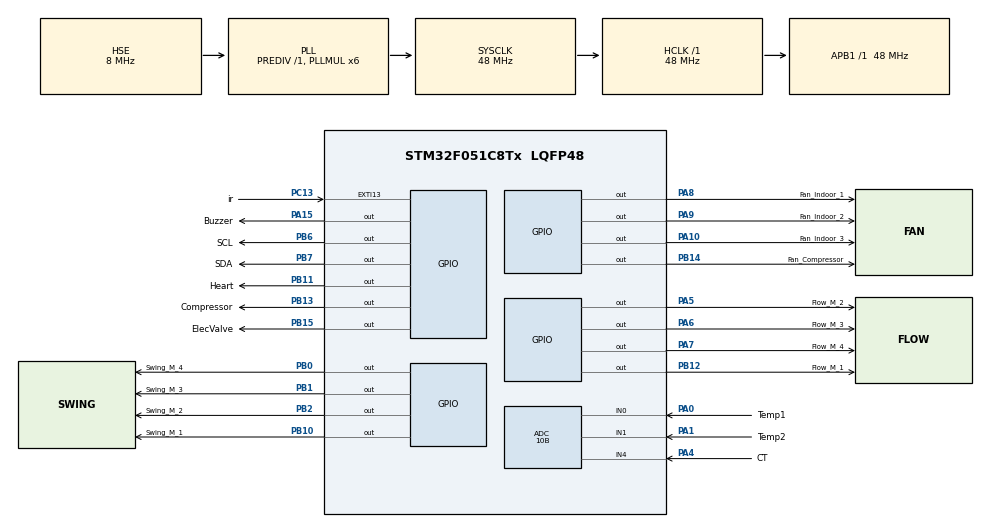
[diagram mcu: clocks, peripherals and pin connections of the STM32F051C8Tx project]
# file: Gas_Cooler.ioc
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ADC.ContinuousConvMode=ENABLE
ADC.DMAContinuousRequests=ENABLE
ADC.Resolution=ADC_RESOLUTION_10B
ADC.SamplingTime=ADC_SAMPLETIME_71CYCLES_5
Dma.ADC.0.Direction=DMA_PERIPH_TO_MEMORY
Dma.ADC.0.Instance=DMA1_Channel1
Dma.ADC.0.MemDataAlignment=DMA_MDATAALIGN_HALFWORD
Dma.ADC.0.MemInc=DMA_MINC_ENABLE
Dma.ADC.0.Mode=DMA_CIRCULAR
Dma.ADC.0.PeriphDataAlignment=DMA_PDATAALIGN_HALFWORD
Dma.ADC.0.PeriphInc=DMA_PINC_DISABLE
Dma.ADC.0.Priority=DMA_PRIORITY_LOW
Dma.Request0=ADC
Mcu.Family=STM32F0
Mcu.Name=STM32F051C8Tx
Mcu.Package=LQFP48
NVIC.DMA1_Channel1_IRQn=true\:0\:0\:false\:false\:true\:false\:true
NVIC.EXTI4_15_IRQn=true\:0\:0\:false\:false\:true\:true\:true
NVIC.TIM14_IRQn=true\:0\:0\:false\:false\:true\:true\:true
NVIC.TIM3_IRQn=true\:0\:0\:false\:false\:true\:true\:true
NVIC.TIM6_DAC_IRQn=true\:0\:0\:false\:false\:true\:true\:true
PA0.GPIO_Label=Temp1
PA0.Mode=IN0
PA0.Signal=ADC_IN0
PA1.GPIO_Label=Temp2
PA1.Mode=IN1
PA1.Signal=ADC_IN1
PA10.GPIO_Label=Fan_Indoor_3
PA10.Signal=GPIO_Output
PA13.Mode=Serial_Wire
PA13.Signal=SYS_SWDIO
PA14.Mode=Serial_Wire
PA14.Signal=SYS_SWCLK
PA15.GPIO_Label=Buzzer
PA15.Signal=GPIO_Output
PA4.GPIO_Label=CT
PA4.Mode=IN4
PA4.Signal=ADC_IN4
PA5.GPIO_Label=Flow_M_2
PA5.Signal=GPIO_Output
PA6.GPIO_Label=Flow_M_3
PA6.Signal=GPIO_Output
PA7.GPIO_Label=Flow_M_4
PA7.Signal=GPIO_Output
PA8.GPIO_Label=Fan_Indoor_1
PA8.Signal=GPIO_Output
PA9.GPIO_Label=Fan_Indoor_2
PA9.Signal=GPIO_Output
PB0.GPIO_Label=Swing_M_4
PB0.Signal=GPIO_Output
PB1.GPIO_Label=Swing_M_3
PB1.Signal=GPIO_Output
PB10.GPIO_Label=Swing_M_1
PB10.Signal=GPIO_Output
PB11.GPIO_Label=Heart
PB11.Signal=GPIO_Output
PB12.GPIO_Label=Flow_M_1
PB12.Signal=GPIO_Output
PB13.GPIO_Label=Compressor
PB13.Signal=GPIO_Output
PB14.GPIO_Label=Fan_Compressor
PB14.Signal=GPIO_Output
PB15.GPIO_Label=ElecValve
PB15.Signal=GPIO_Output
PB2.GPIO_Label=Swing_M_2
PB2.Signal=GPIO_Output
PB6.GPIO_Label=SCL
PB6.Signal=GPIO_Output
PB7.GPIO_Label=SDA
PB7.Signal=GPIO_Output
PC13.GPIO_Label=ir
PC13.GPIO_ModeDefaultEXTI=GPIO_MODE_IT_FALLING
PC13.GPIO_PuPd=GPIO_PULLUP
PC13.Signal=GPXTI13
PF0-OSC_IN.Mode=HSE-External-Oscillator
PF0-OSC_IN.Signal=RCC_OSC_IN
PF1-OSC_OUT.Mode=HSE-External-Oscillator
PF1-OSC_OUT.Signal=RCC_OSC_OUT
ProjectManager.HeapSize=0x200
ProjectManager.StackSize=0x400
ProjectManager.TargetToolchain=MDK-ARM V5
RCC.AHBFreq_Value=48000000
RCC.APB1Freq_Value=48000000
RCC.APB1TimFreq_Value=48000000
RCC.HCLKFreq_Value=48000000
RCC.PLLMUL=RCC_PLL_MUL6
RCC.PLLSourceVirtual=RCC_PLLSOURCE_HSE
RCC.SYSCLKFreq_VALUE=48000000
RCC.SYSCLKSource=RCC_SYSCLKSOURCE_PLLCLK
TIM14.Period=500
TIM14.Prescaler=48000
TIM2.Prescaler=47
TIM3.Period=9999
TIM3.Prescaler=47
TIM6.Period=99
TIM6.Prescaler=47999
VP_TIM14_VS_ClockSourceINT.Mode=Enable_Timer
VP_TIM2_VS_ClockSourceINT.Mode=Internal
VP_TIM3_VS_ClockSourceINT.Mode=Internal
VP_TIM6_VS_ClockSourceINT.Mode=Enable_Timer
board=custom

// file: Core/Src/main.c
/* USER CODE BEGIN Header */
/**
  ******************************************************************************
  * @file           : main.c
  * @brief          : Main program body
  ******************************************************************************
  * @attention
  *
  * <h2><center>&copy; Copyright (c) 2020 STMicroelectronics.
  * All rights reserved.</center></h2>
  *
  * This software component is licensed by ST under BSD 3-Clause license,
  * the "License"; You may not use this file except in compliance with the
  * License. You may obtain a copy of the License at:
  *                        opensource.org/licenses/BSD-3-Clause
  *
  ******************************************************************************
  */
/* USER CODE END Header */
#include "main.h"
#include "adc.h"
#include "dma.h"
#include "tim.h"
#include "gpio.h"

/* USER CODE BEGIN Includes */
#include "stm32_tm1637.h"
/* USER CODE END Includes */

/* USER CODE BEGIN PD */
#define motor_delay 10
#define fan_mode  1 //1
#define dry_mode  2 //101
#define cool_mode 3 //11
#define heat_mode 4 //110
#define auto_mode 5 //111
#define pipe_temp_limit 30
#define max_comprossor_current 12
#define min_comprossor_current 3
#define initial_speed 2499
#define default_speed 4999
#define indoor_defroast_temp 5
#define indoor_defroast_diff_temp 7
#define indoor_defroast_min_period 2
#define fan_comprasor_temp_limit 45
/* USER CODE END PD */

/* USER CODE BEGIN PV */
uint16_t ADC_Value[3];
uint16_t ADC_temp1_ok[100],adc_count;
uint16_t ADC_temp2_ok[100];
uint16_t ADC_current_ok[100];
int Count_Show;
int Flag_IR;
int i,count,debunce_rep=0,debunce=100;
int Power,Timing,Sleeping,flag_Read_IR;
int sleep_count=0,timer_count;
float envirment_temp;
float pipe_temp;
float comprasor_current;
int rec_bits[96];
int temp_setpoint;
int Timer_setpoint;
int comprasor_off_count,ElecValve_count,swing_loop_count,swing_mode;
int comprasor_on_count;
FLASH_EraseInitTypeDef EraseInitStruct;
uint32_t pageAddress_1=0x0800E000;
uint32_t pageAddress_2=0x0800E400;
uint32_t pageAddress_3=0x0800E800;
uint32_t PAGEError=0;
int Work_Mode;
int auto_mode_selected;
int status_flash;
struct swing_INFO{
	int dir;
	int n;
	int on_flag;
	int off_time;
	int step;
} swing_info;
int air_flow_flag;
int air_flow_loop_count,count_fan;
float adc_temp_avg;
int ind;
int swing_level;
int level_work;
int indoor_fan_mode;
int comprasor_dry_count;
int turbo_flag;
uint32_t ir_32bit_arr[3];
int temp1_offset;
int temp2_offset;
int tim14_flag,tim3_flag;
int Error;
int auto_fan_flag;
int swing_pole;
int indoor_defroast_flag,indoor_defroast_count=0;
int ir_sum;
int timer_blink;
int ans;
/* USER CODE END PV */

void SystemClock_Config(void);
/* USER CODE BEGIN PFP */
void receive_data (void);
void DWT_Delay_us(uint32_t ticks);
void fan_indoor(int speed);
float adc2temp(float adc);
void ir_praser(void);
void Write_To_Flash(uint32_t data,uint32_t Address,uint8_t num_page);
int Is_Indoor_Fan_On(void);
int Is_Ir_Valid(void);
void ir_bits_to_32_bit_arr(void);
void _32_bit_arr_to_ir_bits(void);
float adc2current(float adc);
void process_work(void);
void tim14_process(void);
void tim3_process(void);
void config(void);
void ir_process(void);
void auto_fan_fcn(void);
void indoor_defroast_process(void);
/* USER CODE END PFP */

int main(void)
{

  /* MCU Configuration--------------------------------------------------------*/

  /* Reset of all peripherals, Initializes the Flash interface and the Systick. */
  HAL_Init();

  /* Configure the system clock */
  SystemClock_Config();

  /* Initialize all configured peripherals */
  MX_GPIO_Init();
  MX_DMA_Init();
  MX_TIM14_Init();
  MX_ADC_Init();
  MX_TIM2_Init();
  MX_TIM3_Init();
  MX_TIM6_Init();
  /* USER CODE BEGIN 2 */
	config();
  /* USER CODE END 2 */

  /* Infinite loop */
  /* USER CODE BEGIN WHILE */
  while (1)
  {
		if(1/*Error==0*/){
				if(tim14_flag)
				{
					tim14_process();
					tim14_flag=0;
				}
				if(tim3_flag)
				{
					tim3_process();
					tim3_flag=0;
				}
				process_work();
				if(auto_fan_flag==1)
					auto_fan_fcn();

    /* USER CODE END WHILE */

    /* USER CODE BEGIN 3 */
		if(Flag_IR==1)
			{
				ir_process();
			}
  }
		else
		{
			tm1637SetBrightness(4);
			tm1637DisplayError(Error,0);
			HAL_GPIO_WritePin(Compressor_GPIO_Port,Compressor_Pin,GPIO_PIN_RESET);
			HAL_GPIO_WritePin(Fan_Compressor_GPIO_Port,Fan_Compressor_Pin,GPIO_PIN_RESET);
			HAL_GPIO_WritePin(ElecValve_GPIO_Port,ElecValve_Pin,GPIO_PIN_RESET);
			fan_indoor(-1);
			HAL_GPIO_WritePin(Buzzer_GPIO_Port,Buzzer_Pin,GPIO_PIN_SET);
			HAL_Delay(50);
			HAL_GPIO_WritePin(Buzzer_GPIO_Port,Buzzer_Pin,GPIO_PIN_RESET);
			HAL_Delay(1000);
		}
}

  /* USER CODE END 3 */
}

void SystemClock_Config(void)
{
  RCC_OscInitTypeDef RCC_OscInitStruct = {0};
  RCC_ClkInitTypeDef RCC_ClkInitStruct = {0};

  /** Initializes the RCC Oscillators according to the specified parameters
  * in the RCC_OscInitTypeDef structure.
  */
  RCC_OscInitStruct.OscillatorType = RCC_OSCILLATORTYPE_HSI14|RCC_OSCILLATORTYPE_HSE;
  RCC_OscInitStruct.HSEState = RCC_HSE_ON;
  RCC_OscInitStruct.HSI14State = RCC_HSI14_ON;
  RCC_OscInitStruct.HSI14CalibrationValue = 16;
  RCC_OscInitStruct.PLL.PLLState = RCC_PLL_ON;
  RCC_OscInitStruct.PLL.PLLSource = RCC_PLLSOURCE_HSE;
  RCC_OscInitStruct.PLL.PLLMUL = RCC_PLL_MUL6;
  RCC_OscInitStruct.PLL.PREDIV = RCC_PREDIV_DIV1;
  if (HAL_RCC_OscConfig(&RCC_OscInitStruct) != HAL_OK)
  {
    Error_Handler();
  }
  /** Initializes the CPU, AHB and APB buses clocks
  */
  RCC_ClkInitStruct.ClockType = RCC_CLOCKTYPE_HCLK|RCC_CLOCKTYPE_SYSCLK
                              |RCC_CLOCKTYPE_PCLK1;
  RCC_ClkInitStruct.SYSCLKSource = RCC_SYSCLKSOURCE_PLLCLK;
  RCC_ClkInitStruct.AHBCLKDivider = RCC_SYSCLK_DIV1;
  RCC_ClkInitStruct.APB1CLKDivider = RCC_HCLK_DIV1;

  if (HAL_RCC_ClockConfig(&RCC_ClkInitStruct, FLASH_LATENCY_1) != HAL_OK)
  {
    Error_Handler();
  }
}

/* USER CODE BEGIN 4 */
void HAL_TIM_PeriodElapsedCallback(TIM_HandleTypeDef *htim)
{

	if(htim==&htim14)
	{
		HAL_GPIO_TogglePin(Heart_GPIO_Port,Heart_Pin);
		tim14_flag=1;
	}
		if(htim==&htim3){
			tim3_flag=1;
		}
}
void HAL_GPIO_EXTI_Callback(uint16_t GPIO_Pin)
{
	if (GPIO_Pin==GPIO_PIN_13)
	{
		Flag_IR=1;
	}
}
void config(){
	tm1637Init();
	ir_32bit_arr[0]=*(__IO uint32_t *)(pageAddress_1);
	ir_32bit_arr[1]=*(__IO uint32_t *)(pageAddress_2);
	ir_32bit_arr[2]=*(__IO uint32_t *)(pageAddress_3);
	_32_bit_arr_to_ir_bits();
	ir_praser();
	HAL_TIM_Base_Start_IT(&htim14);
	HAL_TIM_Base_Start_IT(&htim3);
	HAL_TIM_Base_Start(&htim2);
	HAL_ADC_Start_DMA(&hadc,(uint32_t *)ADC_Value,3);
	HAL_GPIO_WritePin(Buzzer_GPIO_Port,Buzzer_Pin,GPIO_PIN_SET);
	HAL_Delay(50);
	HAL_GPIO_WritePin(Buzzer_GPIO_Port,Buzzer_Pin,GPIO_PIN_RESET);
	HAL_Delay(50);
	HAL_GPIO_WritePin(Buzzer_GPIO_Port,Buzzer_Pin,GPIO_PIN_SET);
	HAL_Delay(50);
	HAL_GPIO_WritePin(Buzzer_GPIO_Port,Buzzer_Pin,GPIO_PIN_RESET);
}
void tim14_process()
{
	comprasor_off_count+=!HAL_GPIO_ReadPin(Compressor_GPIO_Port,Compressor_Pin);
	comprasor_on_count+=HAL_GPIO_ReadPin(Compressor_GPIO_Port,Compressor_Pin);
	ElecValve_count+=HAL_GPIO_ReadPin(ElecValve_GPIO_Port,ElecValve_Pin);
	count_fan++;
	comprasor_dry_count++;
	sleep_count++;
	timer_count++;
	timer_blink++;
	indoor_defroast_count++;
	if(((Work_Mode==heat_mode && !Is_Indoor_Fan_On())||(((Work_Mode==cool_mode || Work_Mode==dry_mode ) && HAL_GPIO_ReadPin(ElecValve_GPIO_Port,ElecValve_Pin)))))
	{
		if((!Timing || (Timing && timer_blink>15)) && Sleeping==0)
		{
			Count_Show=(temp_setpoint*1000)+(((sleep_count%2)*3)*100)+(Timing*10)+Sleeping;
		if(Work_Mode==dry_mode)
			tm1637Display_null(Count_Show, 0);
		else
			tm1637DisplayDecimal(Count_Show, 0);
		}
	}
	else if((Work_Mode==heat_mode || Work_Mode==cool_mode || Work_Mode==dry_mode) && (!Timing || (Timing && timer_blink>15)) && Sleeping==0)
	{
			Count_Show=(temp_setpoint*1000)+(Power*100)+(Timing*10)+Sleeping;
		if(Work_Mode==dry_mode)
			tm1637Display_null(Count_Show, 0);
		else
			tm1637DisplayDecimal(Count_Show, 0);
	}

		if(Timing)
		{
			if(timer_blink<10)
			{
				tm1637SetBrightness(4*(timer_blink%2==0));
				Count_Show=(Timer_setpoint*1000)+(Power*100)+(Timing*10)+Sleeping;
				tm1637DisplayDecimal(Count_Show, 0);
			}
			else if(timer_blink<15)
			{
				tm1637SetBrightness((Sleeping && sleep_count*0.5>10)?0:4);
				Count_Show=(temp_setpoint*1000)+(Power*100)+(Timing*10)+Sleeping;
				if((Work_Mode==fan_mode || Work_Mode==dry_mode) && (auto_mode_selected==0))
					tm1637Display_null(Count_Show, 0);
				else
					tm1637DisplayDecimal(Count_Show, 0);
			}
			if(timer_count*0.5/3600>=Timer_setpoint)
			{
				if(flag_Read_IR)
				{
				rec_bits[15]=0;
				rec_bits[57]=0;
				rec_bits[49]=1;
				ir_praser();
				}
			}
		}
		if(Sleeping && sleep_count*0.5>10){
			tm1637DisplaySleep();
		}
		adc_temp_avg=0;
		for(ind=0;ind<100;ind++)
			adc_temp_avg+=ADC_temp1_ok[ind];
		adc_temp_avg=adc_temp_avg/100;
		envirment_temp= adc2temp(adc_temp_avg)+temp1_offset;
		adc_temp_avg=0;
		for(ind=0;ind<100;ind++)
			adc_temp_avg+=ADC_temp2_ok[ind];
		adc_temp_avg=adc_temp_avg/100;
		pipe_temp=adc2temp(adc_temp_avg)+temp2_offset;
		adc_temp_avg=0;
		for(ind=0;ind<100;ind++)
			adc_temp_avg+=ADC_current_ok[ind];
		adc_temp_avg=adc_temp_avg/100;
		comprasor_current=adc2current(adc_temp_avg);

		//overcurrent and undercurrent
		if(HAL_GPIO_ReadPin(Compressor_GPIO_Port,Compressor_Pin) && comprasor_on_count*0.5>30)
		{
			if(comprasor_current>max_comprossor_current)
			{
				Error=1;
			}
			else if(comprasor_current<min_comprossor_current)
			{
				Error=2;
			}
		}

		if(Work_Mode==cool_mode || Work_Mode==dry_mode){
			if(pipe_temp<indoor_defroast_temp && indoor_defroast_flag==0)
			{
				if(indoor_defroast_count*0.5/3600>indoor_defroast_min_period)
					indoor_defroast_flag=1;
			}
			else if((pipe_temp>(indoor_defroast_temp+indoor_defroast_diff_temp)) && indoor_defroast_flag==1){
				indoor_defroast_flag=0;
				indoor_defroast_count=0;
			}
	}

}

void tim3_process(){
	ADC_temp1_ok[adc_count]=ADC_Value[0];
	ADC_temp2_ok[adc_count]=ADC_Value[1];
	ADC_current_ok[adc_count]=ADC_Value[2];
	adc_count=(adc_count+1)%100;

	if(swing_info.on_flag==1)
	{
		swing_pole=(swing_pole+1)%4;
		swing_loop_count+=(swing_info.step && swing_pole==3);
		if(swing_loop_count<=swing_info.n){
			HAL_GPIO_WritePin(Swing_M_1_GPIO_Port,Swing_M_1_Pin,(swing_info.dir==1)?swing_loop_count%4==0:swing_loop_count%4==3);
			HAL_GPIO_WritePin(Swing_M_2_GPIO_Port,Swing_M_2_Pin,(swing_info.dir==1)?swing_loop_count%4==1:swing_loop_count%4==2);
			HAL_GPIO_WritePin(Swing_M_3_GPIO_Port,Swing_M_3_Pin,(swing_info.dir==1)?swing_loop_count%4==2:swing_loop_count%4==1);
			HAL_GPIO_WritePin(Swing_M_4_GPIO_Port,Swing_M_4_Pin,(swing_info.dir==1)?swing_loop_count%4==3:swing_loop_count%4==0);
			if(HAL_GPIO_ReadPin(Swing_M_1_GPIO_Port,Swing_M_1_Pin))
			{
			if(swing_pole==0)
				{
				if(swing_info.dir==1)
					HAL_GPIO_WritePin(Swing_M_4_GPIO_Port,Swing_M_4_Pin,GPIO_PIN_SET);
				else
					HAL_GPIO_WritePin(Swing_M_2_GPIO_Port,Swing_M_2_Pin,GPIO_PIN_SET);
				}
			}
			else if(HAL_GPIO_ReadPin(Swing_M_2_GPIO_Port,Swing_M_2_Pin))
			{
				if(swing_pole==0){
				if(swing_info.dir==1)
					HAL_GPIO_WritePin(Swing_M_1_GPIO_Port,Swing_M_1_Pin,GPIO_PIN_SET);
				else
					HAL_GPIO_WritePin(Swing_M_3_GPIO_Port,Swing_M_3_Pin,GPIO_PIN_SET);
				}
			}
			else if(HAL_GPIO_ReadPin(Swing_M_3_GPIO_Port,Swing_M_3_Pin))
			{
				if(swing_pole==0){
				if(swing_info.dir==1)
					HAL_GPIO_WritePin(Swing_M_2_GPIO_Port,Swing_M_2_Pin,GPIO_PIN_SET);
				else
					HAL_GPIO_WritePin(Swing_M_4_GPIO_Port,Swing_M_4_Pin,GPIO_PIN_SET);
				}
			}
			else if(HAL_GPIO_ReadPin(Swing_M_4_GPIO_Port,Swing_M_4_Pin))
			{
				if(swing_pole==0){
				if(swing_info.dir==1)
					HAL_GPIO_WritePin(Swing_M_3_GPIO_Port,Swing_M_3_Pin,GPIO_PIN_SET);
				else
					HAL_GPIO_WritePin(Swing_M_1_GPIO_Port,Swing_M_1_Pin,GPIO_PIN_SET);
				}
			}
		}
		else if(swing_loop_count>=swing_info.n+(swing_mode==01 && (((Work_Mode==fan_mode|| Work_Mode==cool_mode || Work_Mode==dry_mode) && swing_info.dir==2)|| (Work_Mode==heat_mode && swing_info.dir==1)))*swing_info.off_time*50)
		{
			swing_info.on_flag=0;
			HAL_GPIO_WritePin(Swing_M_1_GPIO_Port,Swing_M_1_Pin,GPIO_PIN_RESET);
			HAL_GPIO_WritePin(Swing_M_2_GPIO_Port,Swing_M_2_Pin,GPIO_PIN_RESET);
			HAL_GPIO_WritePin(Swing_M_3_GPIO_Port,Swing_M_3_Pin,GPIO_PIN_RESET);
			HAL_GPIO_WritePin(Swing_M_4_GPIO_Port,Swing_M_4_Pin,GPIO_PIN_RESET);
		}
	}

	if(air_flow_flag && Power==3 && Is_Indoor_Fan_On())
	{
		if(air_flow_loop_count%4==0){
		HAL_GPIO_WritePin(Flow_M_1_GPIO_Port,Flow_M_1_Pin,(air_flow_loop_count<300*12)?(air_flow_loop_count%16==0):air_flow_loop_count%16==12);
		HAL_GPIO_WritePin(Flow_M_2_GPIO_Port,Flow_M_2_Pin,(air_flow_loop_count<300*12)?(air_flow_loop_count%16==4):air_flow_loop_count%16==8);
		HAL_GPIO_WritePin(Flow_M_3_GPIO_Port,Flow_M_3_Pin,(air_flow_loop_count<300*12)?(air_flow_loop_count%16==8):air_flow_loop_count%16==4);
		HAL_GPIO_WritePin(Flow_M_4_GPIO_Port,Flow_M_4_Pin,(air_flow_loop_count<300*12)?(air_flow_loop_count%16==12):air_flow_loop_count%16==0);}
		air_flow_loop_count++;
		if(air_flow_loop_count>=300*24)
			air_flow_loop_count=0;
	}
	else
	{
				HAL_GPIO_WritePin(Flow_M_1_GPIO_Port,Flow_M_1_Pin,GPIO_PIN_RESET);
				HAL_GPIO_WritePin(Flow_M_2_GPIO_Port,Flow_M_2_Pin,GPIO_PIN_RESET);
				HAL_GPIO_WritePin(Flow_M_3_GPIO_Port,Flow_M_3_Pin,GPIO_PIN_RESET);
				HAL_GPIO_WritePin(Flow_M_4_GPIO_Port,Flow_M_4_Pin,GPIO_PIN_RESET);
			}
}
void process_work(){
		if(auto_mode_selected)
	  {
			if(envirment_temp>27 && Work_Mode!=cool_mode){
				Work_Mode=cool_mode;
				level_work=0;
				swing_level=0;
				swing_loop_count=0;
				swing_info.on_flag=0;
			}
			else if(envirment_temp<23 && Work_Mode!=heat_mode){
				Work_Mode=heat_mode;
				level_work=0;
				swing_level=0;
				swing_loop_count=0;
				swing_info.on_flag=0;
			}
			else if(((Work_Mode==heat_mode && envirment_temp>25) || (Work_Mode==cool_mode && envirment_temp<25)) && (Work_Mode!=fan_mode) ){
				Work_Mode=fan_mode;
				level_work=0;
				swing_level=0;
				swing_loop_count=0;
				swing_info.on_flag=0;
			}
			else if(((Work_Mode!=heat_mode) && (envirment_temp>23)) && (Work_Mode!=fan_mode) ){
				if(((Work_Mode!=cool_mode) && (envirment_temp<27))){
				Work_Mode=fan_mode;
				level_work=0;
				swing_level=0;
				swing_loop_count=0;
				swing_info.on_flag=0;
				}
			}
	  }
	  switch(Work_Mode)
	  {
		case cool_mode:
			if(level_work==0)
			{
				if(HAL_GPIO_ReadPin(Compressor_GPIO_Port,Compressor_Pin))
				{
					HAL_GPIO_WritePin(Compressor_GPIO_Port,Compressor_Pin,GPIO_PIN_RESET);
					HAL_GPIO_WritePin(Fan_Compressor_GPIO_Port,Fan_Compressor_Pin,GPIO_PIN_RESET);
					comprasor_off_count=0;
					ElecValve_count=0;
				}
				else if(HAL_GPIO_ReadPin(ElecValve_GPIO_Port,ElecValve_Pin) && ElecValve_count*0.5/60>2 && HAL_GPIO_ReadPin(Compressor_GPIO_Port,Compressor_Pin)==GPIO_PIN_RESET)
				{
					HAL_GPIO_WritePin(ElecValve_GPIO_Port,ElecValve_Pin,GPIO_PIN_RESET);
				}
				else if(HAL_GPIO_ReadPin(Compressor_GPIO_Port,Compressor_Pin)==GPIO_PIN_RESET && HAL_GPIO_ReadPin(ElecValve_GPIO_Port,ElecValve_Pin)==GPIO_PIN_RESET)
					level_work=1;
			}
			if(Power==3 && level_work==1)
			{

				if(swing_level<0 || swing_level==10){
					swing_level=0;
					swing_loop_count=0;
				}

				if((((envirment_temp-temp_setpoint)>2) || turbo_flag) && HAL_GPIO_ReadPin(Compressor_GPIO_Port,Compressor_Pin)==GPIO_PIN_RESET && indoor_defroast_flag==0)
					{
						if(comprasor_off_count*0.5/60>3)
						{
							HAL_GPIO_WritePin(Compressor_GPIO_Port,Compressor_Pin,GPIO_PIN_SET);
							HAL_GPIO_WritePin(Fan_Compressor_GPIO_Port,Fan_Compressor_Pin,GPIO_PIN_SET);
							comprasor_on_count=0;
						}
					}
				else if((((envirment_temp-temp_setpoint)<-2*(auto_mode_selected==0))  && turbo_flag==0)|| indoor_defroast_flag)
				{
					if(comprasor_on_count*0.5/60>3 && HAL_GPIO_ReadPin(Compressor_GPIO_Port,Compressor_Pin)==GPIO_PIN_SET){
						HAL_GPIO_WritePin(Compressor_GPIO_Port,Compressor_Pin,GPIO_PIN_RESET);
						HAL_GPIO_WritePin(Fan_Compressor_GPIO_Port,Fan_Compressor_Pin,GPIO_PIN_RESET);
						comprasor_off_count=0;
					}
				}
				fan_indoor(indoor_fan_mode);
				if(swing_level==0 && swing_loop_count==0)
				{
					TIM3->ARR=initial_speed;
					swing_info.on_flag=1;
					swing_info.dir=1;
					swing_info.n=170*4;
					swing_info.off_time=0;
					swing_info.step=1;
				}
				else if(swing_level==0 && swing_info.on_flag==0)
				{
					swing_level=1;
					swing_loop_count=0;
				}
				else if(swing_level==1 && swing_loop_count==0)
				{
					TIM3->ARR=initial_speed;
					swing_info.on_flag=1;
					swing_info.dir=2;
					swing_info.n=130*4;
					swing_info.off_time=0;
					swing_info.step=1;
				}
				else if(swing_level==1 && swing_info.on_flag==0)
				{
					swing_level=2;
					swing_loop_count=0;
				}
				else if(swing_level==2 && swing_loop_count==0)
				{
					TIM3->ARR=default_speed;
					swing_info.on_flag=1;
					swing_info.dir=1;
					swing_info.n=100*4;
					swing_info.off_time=0;
					swing_info.step=(swing_mode!=11);
				}
				else if(swing_level==2 && swing_info.on_flag==0)
				{
					swing_level=3;
					swing_loop_count=0;
				}
				else if(swing_level==3 && swing_loop_count==0)
				{
					TIM3->ARR=default_speed;
					swing_info.on_flag=1;
					swing_info.dir=2;
					swing_info.n=100*4;
					swing_info.off_time=30;
					swing_info.step=(swing_mode!=11);
				}
				else if(swing_level==3 && swing_info.on_flag==0)
				{
					swing_level=2;
					swing_loop_count=0;
				}
			}
			else if(Power==0 && level_work==1)
			{
				if(HAL_GPIO_ReadPin(Compressor_GPIO_Port,Compressor_Pin))
				{
					HAL_GPIO_WritePin(Compressor_GPIO_Port,Compressor_Pin,GPIO_PIN_RESET);
					HAL_GPIO_WritePin(Fan_Compressor_GPIO_Port,Fan_Compressor_Pin,GPIO_PIN_RESET);
					comprasor_off_count=0;
				}
				if(swing_level>=0)
				{
					TIM3->ARR=initial_speed;
					swing_info.on_flag=1;
					swing_info.dir=1;
					swing_info.n=170*4;
					swing_loop_count=0;
					swing_info.off_time=0;
					swing_level=-1;
				}
				else if(swing_info.on_flag==0 && swing_level==-1)
				{
					TIM3->ARR=initial_speed;
					swing_info.on_flag=1;
					swing_info.dir=2;
					swing_info.n=130*4;
					swing_loop_count=0;
					swing_info.off_time=30*(Is_Indoor_Fan_On()!=0);
					count_fan=0;
					swing_mode=01;
					swing_level=-2;
				}

				else if(swing_info.on_flag==0 && swing_level==-2){
					swing_loop_count=0;
					if(count_fan*0.5>30 || Is_Indoor_Fan_On()==0)
					{
						TIM3->ARR=initial_speed;
						fan_indoor(-1);
						swing_level=-3;
						swing_info.on_flag=1;
						swing_info.dir=2;
						swing_info.n=60*4;
						swing_loop_count=0;
						swing_info.off_time=0;
					}
				}
				else if(swing_info.on_flag==0 && swing_level==-3)
				{
					swing_loop_count=0;
					//level_work=0;
					//Work_Mode=0;
				}
			}

		break;
		case dry_mode:
			if(level_work==0)
			{
				if(HAL_GPIO_ReadPin(Compressor_GPIO_Port,Compressor_Pin))
				{
					HAL_GPIO_WritePin(Compressor_GPIO_Port,Compressor_Pin,GPIO_PIN_RESET);
					HAL_GPIO_WritePin(Fan_Compressor_GPIO_Port,Fan_Compressor_Pin,GPIO_PIN_RESET);
					comprasor_off_count=0;
					ElecValve_count=0;
				}
				else if(HAL_GPIO_ReadPin(ElecValve_GPIO_Port,ElecValve_Pin) && ElecValve_count*0.5/60>2)
				{
					HAL_GPIO_WritePin(ElecValve_GPIO_Port,ElecValve_Pin,GPIO_PIN_RESET);
				}
				else if(HAL_GPIO_ReadPin(Compressor_GPIO_Port,Compressor_Pin)==GPIO_PIN_RESET && HAL_GPIO_ReadPin(ElecValve_GPIO_Port,ElecValve_Pin)==GPIO_PIN_RESET)
					{level_work=1;comprasor_dry_count=1200;count_fan=0;}
				if(Is_Indoor_Fan_On()){
					fan_indoor(-1);
				}
			}
			if(Power==3 && level_work==1)
			{
				if(swing_level<0 || swing_level==10){
					swing_level=0;
					swing_loop_count=0;
				}
				if(comprasor_off_count*0.5/60>3 && HAL_GPIO_ReadPin(Compressor_GPIO_Port,Compressor_Pin)==GPIO_PIN_RESET && comprasor_dry_count*0.5/60>7)
				{
					TIM3->ARR=initial_speed;
					HAL_GPIO_WritePin(Compressor_GPIO_Port,Compressor_Pin,GPIO_PIN_SET);
					HAL_GPIO_WritePin(Fan_Compressor_GPIO_Port,Fan_Compressor_Pin,GPIO_PIN_SET);
					comprasor_dry_count=0;
				}
				else if(HAL_GPIO_ReadPin(Compressor_GPIO_Port,Compressor_Pin)==GPIO_PIN_SET && comprasor_dry_count*0.5/60>5)
				{
					HAL_GPIO_WritePin(Compressor_GPIO_Port,Compressor_Pin,GPIO_PIN_RESET);
					HAL_GPIO_WritePin(Fan_Compressor_GPIO_Port,Fan_Compressor_Pin,GPIO_PIN_RESET);
					comprasor_off_count=0;
					comprasor_dry_count=0;
				}
				fan_indoor(indoor_fan_mode);
				if(swing_level==0 && swing_loop_count==0)
				{
					TIM3->ARR=initial_speed;
					swing_info.on_flag=1;
					swing_info.dir=1;
					swing_info.n=170*4;
					swing_info.off_time=0;
					swing_info.step=1;
				}
				else if(swing_level==0 && swing_info.on_flag==0)
				{
					swing_level=1;
					swing_loop_count=0;
				}
				else if(swing_level==1 && swing_loop_count==0)
				{
					TIM3->ARR=initial_speed;
					swing_info.on_flag=1;
					swing_info.dir=2;
					swing_info.n=90*4;
					swing_info.off_time=0;
					swing_info.step=1;
				}
				else if(swing_level==1 && swing_info.on_flag==0)
				{
					swing_level=2;
					swing_loop_count=0;
				}
			}
			else if(Power==0 && level_work==1)
			{
				if(HAL_GPIO_ReadPin(Compressor_GPIO_Port,Compressor_Pin))
				{
					HAL_GPIO_WritePin(Compressor_GPIO_Port,Compressor_Pin,GPIO_PIN_RESET);
					HAL_GPIO_WritePin(Fan_Compressor_GPIO_Port,Fan_Compressor_Pin,GPIO_PIN_RESET);
					comprasor_off_count=0;
				}
				if(swing_level>=0)
				{
					TIM3->ARR=initial_speed;
					swing_info.on_flag=1;
					swing_info.dir=1;
					swing_info.n=170*4;
					swing_loop_count=0;
					swing_info.off_time=0;
					swing_level=-1;
				}
				else if(swing_info.on_flag==0 && swing_level==-1)
				{
					TIM3->ARR=initial_speed;
					swing_info.on_flag=1;
					swing_info.dir=2;
					swing_info.n=130*4;
					swing_loop_count=0;
					swing_info.off_time=30*(Is_Indoor_Fan_On()!=0);
					swing_mode=01;
					swing_level=-2;
				}

				else if(swing_info.on_flag==0 && swing_level==-2){
					swing_loop_count=0;
					count_fan=0;
					swing_level=-3;
				}
				else if(swing_info.on_flag==0 && swing_level==-3){
				if(count_fan*0.5>30 || Is_Indoor_Fan_On()==0)
					{
						TIM3->ARR=initial_speed;
						fan_indoor(-1);
						swing_level=-4;
						swing_info.on_flag=1;
						swing_info.dir=2;
						swing_info.n=60*4;
						swing_loop_count=0;
						swing_info.off_time=0;
					}
				}
				else if(swing_info.on_flag==0 && swing_level==-4)
				{
					swing_loop_count=0;
				}
			}

		break;
		case heat_mode:
			if(level_work==0)
			{
				if(HAL_GPIO_ReadPin(Compressor_GPIO_Port,Compressor_Pin))
				{
					HAL_GPIO_WritePin(Compressor_GPIO_Port,Compressor_Pin,GPIO_PIN_RESET);
					HAL_GPIO_WritePin(Fan_Compressor_GPIO_Port,Fan_Compressor_Pin,GPIO_PIN_RESET);
					comprasor_off_count=0;
					ElecValve_count=0;
				}
				if(HAL_GPIO_ReadPin(ElecValve_GPIO_Port,ElecValve_Pin) && HAL_GPIO_ReadPin(Compressor_GPIO_Port,Compressor_Pin)==GPIO_PIN_RESET){
					if(ElecValve_count*0.5/60>2)
					{
						HAL_GPIO_WritePin(ElecValve_GPIO_Port,ElecValve_Pin,GPIO_PIN_RESET);
					}
				}
				else if(((ElecValve_count*0.5/60>2.5) ||((ElecValve_count*0.5/60<2) && (HAL_GPIO_ReadPin(ElecValve_GPIO_Port,ElecValve_Pin)==GPIO_PIN_RESET))) && Is_Indoor_Fan_On() && auto_mode_selected==0){
						fan_indoor(-1);
						level_work=1;
				}
				else if(!Is_Indoor_Fan_On() || auto_mode_selected==1)
					level_work=1;
			}
			if(Power==3 && level_work==1){
				if(swing_level<0){
					swing_level=0;
					swing_loop_count=0;
				}
				if((pipe_temp>pipe_temp_limit) && (HAL_GPIO_ReadPin(Compressor_GPIO_Port,Compressor_Pin)==GPIO_PIN_SET))
					fan_indoor(indoor_fan_mode);
				if(level_work==1){
					if((((envirment_temp-temp_setpoint)<-2)|| turbo_flag) && HAL_GPIO_ReadPin(Compressor_GPIO_Port,Compressor_Pin)==GPIO_PIN_RESET)
					{
						if(comprasor_off_count*0.5/60>3 )
						{
							HAL_GPIO_WritePin(Compressor_GPIO_Port,Compressor_Pin,GPIO_PIN_SET);
							HAL_GPIO_WritePin(Fan_Compressor_GPIO_Port,Fan_Compressor_Pin,GPIO_PIN_SET);
							HAL_GPIO_WritePin(ElecValve_GPIO_Port,ElecValve_Pin,GPIO_PIN_SET);
							comprasor_on_count=0;
						}

					}
					else if(((envirment_temp-temp_setpoint)>2*(auto_mode_selected==0)) && HAL_GPIO_ReadPin(Compressor_GPIO_Port,Compressor_Pin)==GPIO_PIN_SET && turbo_flag==0 && auto_mode_selected==0)
					{
						if(comprasor_on_count*0.5/60>3){
							HAL_GPIO_WritePin(Compressor_GPIO_Port,Compressor_Pin,GPIO_PIN_RESET);
							HAL_GPIO_WritePin(Fan_Compressor_GPIO_Port,Fan_Compressor_Pin,GPIO_PIN_RESET);
							comprasor_off_count=0;
							ElecValve_count=0;
						}
					}
					if(HAL_GPIO_ReadPin(Compressor_GPIO_Port,Compressor_Pin)==GPIO_PIN_RESET && HAL_GPIO_ReadPin(ElecValve_GPIO_Port,ElecValve_Pin)==GPIO_PIN_SET && auto_mode_selected==0)
					{
						if(ElecValve_count*0.5/60>1.5)
						{
							fan_indoor(-1);
						}
						if(ElecValve_count*0.5/60>2)
						{
							HAL_GPIO_WritePin(ElecValve_GPIO_Port,ElecValve_Pin,GPIO_PIN_RESET);
						}
					}
					if(HAL_GPIO_ReadPin(Compressor_GPIO_Port,Compressor_Pin)==GPIO_PIN_SET)
					{
						if(pipe_temp>fan_comprasor_temp_limit+1)
							HAL_GPIO_WritePin(Fan_Compressor_GPIO_Port,Fan_Compressor_Pin,GPIO_PIN_RESET);
						else if(pipe_temp<fan_comprasor_temp_limit-1)
							HAL_GPIO_WritePin(Fan_Compressor_GPIO_Port,Fan_Compressor_Pin,GPIO_PIN_SET);
					}

				}

				if(swing_level==0 && swing_loop_count==0)
				{
					TIM3->ARR=initial_speed;
					swing_info.on_flag=1;
					swing_info.dir=1;
					swing_info.n=170*4;
					swing_info.off_time=0;
					swing_info.step=1;
				}
				else if(swing_level==0 && swing_info.on_flag==0)
				{
					swing_level=1;
					swing_loop_count=0;
				}
				else if(swing_level==1 && swing_loop_count==0)
				{
					TIM3->ARR=initial_speed;
					swing_info.on_flag=1;
					swing_info.dir=2;
					swing_info.n=110*4;
					swing_info.off_time=0;
					swing_info.step=1;
				}
				else if(swing_level==1 && swing_info.on_flag==0)
				{
					swing_level=2;
					swing_loop_count=0;
				}
				else if(swing_level==2 && swing_loop_count==0)
				{
					TIM3->ARR=default_speed;
					swing_info.on_flag=1;
					swing_info.dir=1;
					swing_info.n=80*4;
					swing_info.off_time=30;
					swing_info.step=(swing_mode!=11);
				}
				else if(swing_level==2 && swing_info.on_flag==0)
				{
					swing_level=3;
					swing_loop_count=0;
				}
				else if(swing_level==3 && swing_loop_count==0)
				{
					TIM3->ARR=default_speed;
					swing_info.on_flag=1;
					swing_info.dir=2;
					swing_info.n=80*4;
					swing_info.off_time=0;
					swing_info.step=(swing_mode!=11);
				}
				else if(swing_level==3 && swing_info.on_flag==0)
				{
					swing_level=(HAL_GPIO_ReadPin(Compressor_GPIO_Port,Compressor_Pin)==GPIO_PIN_RESET || !Is_Indoor_Fan_On())?10:2;
					swing_loop_count=0;
				}
				if(swing_level==10 && HAL_GPIO_ReadPin(Compressor_GPIO_Port,Compressor_Pin)==GPIO_PIN_SET && Is_Indoor_Fan_On())
					swing_level=2;

	  		}
			else if(Power==0 && level_work==1)
			{
				if(HAL_GPIO_ReadPin(Compressor_GPIO_Port,Compressor_Pin))
				{
					HAL_GPIO_WritePin(Compressor_GPIO_Port,Compressor_Pin,GPIO_PIN_RESET);
					HAL_GPIO_WritePin(Fan_Compressor_GPIO_Port,Fan_Compressor_Pin,GPIO_PIN_RESET);
					comprasor_off_count=0;
					ElecValve_count=0;
				}
				if(ElecValve_count*0.5/60>2)
					HAL_GPIO_WritePin(ElecValve_GPIO_Port,ElecValve_Pin,GPIO_PIN_RESET);

				fan_indoor(-1);
				if(swing_level>=0)
				{
					TIM3->ARR=initial_speed;
					swing_info.on_flag=1;
					swing_info.dir=1;
					swing_info.n=170*4;
					swing_loop_count=0;
					swing_info.off_time=0;
					swing_level=-1;
				}
				else if(swing_info.on_flag==0 && swing_level==-1)
				{
					TIM3->ARR=initial_speed;
					swing_info.on_flag=1;
					swing_info.dir=2;
					swing_info.n=185*4;
					swing_loop_count=0;
					swing_info.off_time=30;
					swing_mode=01;
					swing_level=-2;
				}

				else if(swing_info.on_flag==0 && swing_level==-2){
					swing_loop_count=0;
					count_fan=0;
					swing_level=-3;
				}
			}
		break;
		case fan_mode:
			if(HAL_GPIO_ReadPin(Compressor_GPIO_Port,Compressor_Pin))
			{
				HAL_GPIO_WritePin(Compressor_GPIO_Port,Compressor_Pin,GPIO_PIN_RESET);
				HAL_GPIO_WritePin(Fan_Compressor_GPIO_Port,Fan_Compressor_Pin,GPIO_PIN_RESET);
				comprasor_off_count=0;
				if(HAL_GPIO_ReadPin(ElecValve_GPIO_Port,ElecValve_Pin))
					ElecValve_count=0;
				}
			if(HAL_GPIO_ReadPin(ElecValve_GPIO_Port,ElecValve_Pin) && HAL_GPIO_ReadPin(Compressor_GPIO_Port,Compressor_Pin)==GPIO_PIN_RESET)
			{
				if(ElecValve_count*0.5/60>2)
				{
					HAL_GPIO_WritePin(ElecValve_GPIO_Port,ElecValve_Pin,GPIO_PIN_RESET);
				}
			}
			if(Power==3)
			{
				if(swing_level==10 || swing_level<0){
					swing_level=0;
					swing_loop_count=0;
				}
				fan_indoor(indoor_fan_mode);
				if(swing_level==0 && swing_loop_count==0)
				{
					TIM3->ARR=initial_speed;
					swing_info.on_flag=1;
					swing_info.dir=1;
					swing_info.n=170*4;
					swing_info.off_time=0;
					swing_info.step=1;
				}
				else if(swing_level==0 && swing_info.on_flag==0)
				{
					swing_level=1;
					swing_loop_count=0;
				}
				else if(swing_level==1 && swing_loop_count==0)
				{
					TIM3->ARR=initial_speed;
					swing_info.on_flag=1;
					swing_info.dir=2;
					swing_info.n=130*4;
					swing_info.off_time=0;
					swing_info.step=1;
				}
				else if(swing_level==1 && swing_info.on_flag==0)
				{
					swing_level=2;
					swing_loop_count=0;
				}
				else if(swing_level==2 && swing_loop_count==0)
				{
					TIM3->ARR=default_speed;
					swing_info.on_flag=1;
					swing_info.dir=1;
					swing_info.n=100*4;
					swing_info.off_time=0;
					swing_info.step=(swing_mode!=11);
				}
				else if(swing_level==2 && swing_info.on_flag==0)
				{
					swing_level=3;
					swing_loop_count=0;
				}
				else if(swing_level==3 && swing_loop_count==0)
				{
					TIM3->ARR=default_speed;
					swing_info.on_flag=1;
					swing_info.dir=2;
					swing_info.n=100*4;
					swing_info.off_time=30;
					swing_info.step=(swing_mode!=11);
				}
				else if(swing_level==3 && swing_info.on_flag==0)
				{
					swing_level=2;
					swing_loop_count=0;
				}
			}
			else if(Power==0)
			{
				fan_indoor(-1);
				if(swing_level>=0)
				{
					TIM3->ARR=initial_speed;
					swing_info.on_flag=1;
					swing_info.dir=1;
					swing_info.n=170*4;
					swing_loop_count=0;
					swing_info.off_time=0;
					swing_level=-1;
				}
				else if(swing_info.on_flag==0 && swing_level==-1)
				{
					TIM3->ARR=initial_speed;
					swing_info.on_flag=1;
					swing_info.dir=2;
					swing_info.n=185*4;
					swing_loop_count=0;
					swing_info.off_time=30;
					swing_mode=01;
					swing_level=-2;
				}

				else if(swing_info.on_flag==0 && swing_level==-2){
					swing_loop_count=0;
					count_fan=0;
					swing_level=-3;
				}
			}
		break;
	  }
}
void auto_fan_fcn(){
	if(Work_Mode==fan_mode)
		indoor_fan_mode=1;
	else if(Work_Mode==cool_mode){
		if((-temp_setpoint+envirment_temp)<2)
			indoor_fan_mode=0;
		else if((-temp_setpoint+envirment_temp)>3 && (-temp_setpoint+envirment_temp)<6)
			indoor_fan_mode=10;
		else if((-temp_setpoint+envirment_temp)>7)
			indoor_fan_mode=1;
	}
	else if(Work_Mode==heat_mode){
		if(((temp_setpoint-envirment_temp)<2))
			indoor_fan_mode=0;
		else if((temp_setpoint-envirment_temp)>3 && (temp_setpoint-envirment_temp)<6)
		{
			if(pipe_temp<pipe_temp_limit+4)
				indoor_fan_mode=0;
			else
				indoor_fan_mode=10;
		}
		else if((temp_setpoint-envirment_temp)>7){
			if(pipe_temp<pipe_temp_limit+7)
				indoor_fan_mode=10;
		else
			indoor_fan_mode=1;
		}
	}
}
void ir_process(){
	HAL_NVIC_DisableIRQ(EXTI4_15_IRQn);
	if(HAL_GPIO_ReadPin (GPIOC, GPIO_PIN_13)==GPIO_PIN_RESET)
	{
		receive_data();
		ir_praser();
	}
	Flag_IR=0;
	HAL_NVIC_EnableIRQ(EXTI4_15_IRQn);
}
void receive_data (void)
{

		  /* The START Sequence begin here
	   * there will be a pulse of 9ms LOW and
	   * than 4.5 ms space (HIGH)
	   */
	  while (!(HAL_GPIO_ReadPin (GPIOC, GPIO_PIN_13)));  // wait for the pin to go high.. 9ms LOW

	  while ((HAL_GPIO_ReadPin (GPIOC, GPIO_PIN_13)));  // wait for the pin to go low.. 4.5ms HIGH

	  /* START of FRAME ends here*/

	  /* DATA Reception
	   * We are only going to check the SPACE after 562.5us pulse
	   * if the space is 562.5us, the bit indicates '0'
	   * if the space is around 1.6ms, the bit is '1'
	   */

	  for (i=0; i<96; i++)
	  {
		  count=0;

		  while (!(HAL_GPIO_ReadPin (GPIOC, GPIO_PIN_13))); // wait for pin to go high.. this is 562.5us LOW

		  while ((HAL_GPIO_ReadPin (GPIOC, GPIO_PIN_13)))  // count the space length while the pin is high
		  {
			  count++;
			  DWT_Delay_us(debunce);
				if(count>50)
					break;
		  }

		  if (count*debunce> 1200) // if the space is more than 1.2 ms
		  {
			  //code |= (1UL << (31-i));   // write 1
				rec_bits[i]=1;
		  }

		  else {//code &= ~(1UL << (31-i));  // write 0
				rec_bits[i]=0;
			}
	  }
		HAL_Delay(debunce_rep);
}
void ir_praser()
{
	flag_Read_IR=Is_Ir_Valid();

	if(flag_Read_IR)
	{
		flag_Read_IR=0;
		//on/off
		if(Power!=3*rec_bits[57]){
			if(Power==0)
			{
				level_work=0;
				swing_level=0;
				swing_loop_count=0;
				swing_info.on_flag=0;
			}
		}
		Power=3*rec_bits[57];
	//mode
		int pre_mode=Work_Mode;
		switch((rec_bits[69]*100+rec_bits[70]*10+rec_bits[71])){
			case 1:
				Work_Mode=fan_mode;
				auto_mode_selected=0;
			break;
			case 101:
				Work_Mode=dry_mode;
				auto_mode_selected=0;
			break;
			case 11:
				Work_Mode=cool_mode;
				auto_mode_selected=0;
			break;
			case 110:
				Work_Mode=heat_mode;
				auto_mode_selected=0;
			break;
			case 111:
				auto_mode_selected=1;
			break;
		}

		if(pre_mode!=Work_Mode && auto_mode_selected==0){
			level_work=0;
			swing_level=0;
			swing_loop_count=0;
			swing_info.on_flag=0;
		}

	//Temp
		temp_setpoint=rec_bits[72]+rec_bits[73]*2+rec_bits[74]*4+rec_bits[75]*8+rec_bits[76]*16+16;

	//fan speed
		if(rec_bits[53]*10+rec_bits[54]==11)
			auto_fan_flag=1;
		else
		{
			indoor_fan_mode=rec_bits[53]*10+rec_bits[54];
			auto_fan_flag=0;
		}
	//swing
		swing_mode=rec_bits[50]*10+rec_bits[51];
		swing_info.step=(swing_mode==11)?0:1;

	//air flow
		air_flow_flag=rec_bits[52];

	//timer
		if((Timing==0 && rec_bits[15]==1))
			timer_count=0;
		if(Timer_setpoint!=rec_bits[8]+rec_bits[9]*2+rec_bits[10]*4+rec_bits[11]*8+rec_bits[12]*16)
			timer_blink=0;
		Timing=3*rec_bits[15];
		Timer_setpoint=(Timing)?rec_bits[8]+rec_bits[9]*2+rec_bits[10]*4+rec_bits[11]*8+rec_bits[12]*16:10000;

	//hold

	//sleep
		Sleeping=3*rec_bits[56];
		if(Sleeping)
			sleep_count=0;
	//turbo
		if(rec_bits[27]==1)
		{
			turbo_flag=1;
			indoor_fan_mode=1;
		}
		else if(rec_bits[27]==0)
		{
			turbo_flag=0;
		}

	if(Power!=0)
	{
		tm1637SetBrightness(4);
		Count_Show=(temp_setpoint*1000)+(Power*100)+(Timing*10)+Sleeping;
		if((Work_Mode==fan_mode || Work_Mode==dry_mode) && auto_mode_selected==0)
			tm1637Display_null(Count_Show, 0);
		else
			tm1637DisplayDecimal(Count_Show, 0);

	}
	else{
		tm1637SetBrightness(0);
	}
	//lamp
	if(Power){
		tm1637SetBrightness(4*rec_bits[16]);
	}
	ir_bits_to_32_bit_arr();
	Write_To_Flash(ir_32bit_arr[0],pageAddress_1,2);
	Write_To_Flash(ir_32bit_arr[1],pageAddress_2,2);
	Write_To_Flash(ir_32bit_arr[2],pageAddress_3,3);
	HAL_GPIO_WritePin(Buzzer_GPIO_Port,Buzzer_Pin,GPIO_PIN_SET);
	HAL_Delay(50);
	HAL_GPIO_WritePin(Buzzer_GPIO_Port,Buzzer_Pin,GPIO_PIN_RESET);
 }
 }
int Is_Ir_Valid(){
	ir_sum=0;
	int j;
	for(j=0;j<96;j++)
		ir_sum+=rec_bits[j];
	ans=(ir_sum==48)?1:0;
	ans=ans && (rec_bits[49]!=rec_bits[57]);
	ans=ans && (rec_bits[69]!=rec_bits[77]) && (rec_bits[70]!=rec_bits[78]) && (rec_bits[71]!=rec_bits[79]);
	ans=ans && (rec_bits[72]!=rec_bits[64]) && (rec_bits[73]!=rec_bits[65]) && (rec_bits[74]!=rec_bits[66]) && (rec_bits[75]!=rec_bits[67]) && (rec_bits[76]!=rec_bits[68]);
	ans=ans && ((rec_bits[72]+rec_bits[73]*2+rec_bits[74]*4+rec_bits[75]*8+rec_bits[76]*16)<17);
	ans=ans && (rec_bits[53]!=rec_bits[61]) && (rec_bits[54]!=rec_bits[62]);
	ans=ans && (rec_bits[50]!=rec_bits[58]) && (rec_bits[51]!=rec_bits[59]);
	ans=ans && (rec_bits[52]!=rec_bits[60]);
	ans=ans && (rec_bits[7]!=rec_bits[15]) && (rec_bits[8]!=rec_bits[0]) && (rec_bits[9]!=rec_bits[1]) && (rec_bits[10]!=rec_bits[2]) && (rec_bits[11]!=rec_bits[3]) && (rec_bits[12]!=rec_bits[4]);
	ans=ans && ((((rec_bits[8] || rec_bits[9] || rec_bits[10] || rec_bits[11] || rec_bits[12])==0) && (rec_bits[15]==1))==0);
	ans=ans && (rec_bits[18]!=rec_bits[26]);
	ans=ans && (rec_bits[48]!=rec_bits[56]);
	ans=ans && (rec_bits[19]!=rec_bits[27]);
	ans=ans && (rec_bits[16]!=rec_bits[24]);
	if(ir_sum!=48 && ans)
		return 0;
	return ans;
}
void DWT_Delay_us(uint32_t ticks)
{
//	while(ticks--);
	TIM2->CNT=0;
	while(TIM2->CNT<ticks);
}
int Is_Indoor_Fan_On()
{
	return HAL_GPIO_ReadPin(Fan_Indoor_1_GPIO_Port,Fan_Indoor_1_Pin) || HAL_GPIO_ReadPin(Fan_Indoor_2_GPIO_Port,Fan_Indoor_2_Pin) || HAL_GPIO_ReadPin(Fan_Indoor_3_GPIO_Port,Fan_Indoor_3_Pin);
}
void fan_indoor(int speed){
	switch(speed)
	{
		case 0:
			if(HAL_GPIO_ReadPin(Fan_Indoor_3_GPIO_Port,Fan_Indoor_3_Pin) || HAL_GPIO_ReadPin(Fan_Indoor_2_GPIO_Port,Fan_Indoor_2_Pin)){
				HAL_GPIO_WritePin(Fan_Indoor_2_GPIO_Port,Fan_Indoor_2_Pin,GPIO_PIN_RESET);
				HAL_GPIO_WritePin(Fan_Indoor_3_GPIO_Port,Fan_Indoor_3_Pin,GPIO_PIN_RESET);
				HAL_Delay(100);
			}
			HAL_GPIO_WritePin(Fan_Indoor_1_GPIO_Port,Fan_Indoor_1_Pin,GPIO_PIN_SET);
		break;
		case 10:
			if(HAL_GPIO_ReadPin(Fan_Indoor_3_GPIO_Port,Fan_Indoor_3_Pin) || HAL_GPIO_ReadPin(Fan_Indoor_1_GPIO_Port,Fan_Indoor_1_Pin)){
				HAL_GPIO_WritePin(Fan_Indoor_1_GPIO_Port,Fan_Indoor_1_Pin,GPIO_PIN_RESET);
				HAL_GPIO_WritePin(Fan_Indoor_3_GPIO_Port,Fan_Indoor_3_Pin,GPIO_PIN_RESET);
				HAL_Delay(100);
			}
			HAL_GPIO_WritePin(Fan_Indoor_2_GPIO_Port,Fan_Indoor_2_Pin,GPIO_PIN_SET);
		break;
		case 1:
			if(HAL_GPIO_ReadPin(Fan_Indoor_2_GPIO_Port,Fan_Indoor_2_Pin) || HAL_GPIO_ReadPin(Fan_Indoor_1_GPIO_Port,Fan_Indoor_1_Pin)){
				HAL_GPIO_WritePin(Fan_Indoor_1_GPIO_Port,Fan_Indoor_1_Pin,GPIO_PIN_RESET);
				HAL_GPIO_WritePin(Fan_Indoor_2_GPIO_Port,Fan_Indoor_2_Pin,GPIO_PIN_RESET);
				HAL_Delay(100);
			}
			HAL_GPIO_WritePin(Fan_Indoor_3_GPIO_Port,Fan_Indoor_3_Pin,GPIO_PIN_SET);
		break;
		case (-1):
			HAL_GPIO_WritePin(Fan_Indoor_1_GPIO_Port,Fan_Indoor_1_Pin,GPIO_PIN_RESET);
			HAL_GPIO_WritePin(Fan_Indoor_2_GPIO_Port,Fan_Indoor_2_Pin,GPIO_PIN_RESET);
			HAL_GPIO_WritePin(Fan_Indoor_3_GPIO_Port,Fan_Indoor_3_Pin,GPIO_PIN_RESET);
		break;

	}
}

float adc2temp(float adc){
	//y = -0.00000023x3 + 0.00038873x2 - 0.32278204x + 124.02708169
	return  -0.00000023*(adc*adc*adc)+0.00038873*(adc*adc)-0.32278204*adc+124.02708169;
}
float adc2current(float adc){
	return  0.0151*adc + 0.0411;
}
void heat_mode_process(){

}
void Write_To_Flash(uint32_t data,uint32_t Address,uint8_t num_page){
	HAL_FLASH_Unlock();
	EraseInitStruct.NbPages=num_page;
	EraseInitStruct.PageAddress=Address;
	EraseInitStruct.TypeErase=FLASH_TYPEERASE_PAGES;
	if(HAL_FLASHEx_Erase(&EraseInitStruct, &PAGEError)!=HAL_OK){
	//
	}
	if(HAL_FLASH_Program(FLASH_TYPEPROGRAM_WORD,Address,data)==HAL_OK)
	{
		status_flash=1;
	}
	HAL_FLASH_Lock();
}

void ir_bits_to_32_bit_arr(){
	int row,col;
	for(row=0;row<3;row++)
	{
		ir_32bit_arr[row]=0;
		for(col=0;col<32;col++)
		{
			ir_32bit_arr[row]|=(rec_bits[32*row+col]<<col);
		}
	}
}
void _32_bit_arr_to_ir_bits()
{
	int row,col;
	for(row=0;row<3;row++)
	{
		for(col=0;col<32;col++)
		{
			rec_bits[32*row+col]=(ir_32bit_arr[row]>>col)%2;
		}
	}
}
/* USER CODE END 4 */

void Error_Handler(void)
{
  __disable_irq();
  while (1)
  {
  }
}

/************************ (C) COPYRIGHT STMicroelectronics *****END OF FILE****/
